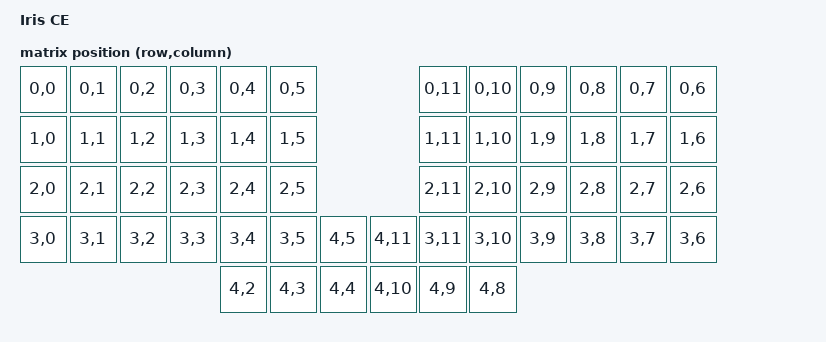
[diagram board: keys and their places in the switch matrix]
/*
 * Copyright (c) 2024 ZMK Contributors
 *
 * SPDX-License-Identifier: MIT
 */

/dts-v1/;
#include <rpi_pico/rp2040.dtsi>
#include <zephyr/dt-bindings/led/led.h>
#include <zephyr/dt-bindings/pinctrl/rpi-pico-rp2040-pinctrl.h>

#include <dt-bindings/zmk/matrix_transform.h>

/ {
    model = "Iris CE";
    compatible = "iris_ce";

    chosen {
        zephyr,sram = &sram0;
        zephyr,flash = &flash0;
        zephyr,flash-controller = &ssi;
        zephyr,console = &cdc_acm_uart;
        zephyr,shell-uart = &cdc_acm_uart;
        zephyr,code-partition = &code_partition;
        zmk,kscan = &kscan0;
        zmk,matrix-transform = &default_transform;
        zmk,split-uart = &pio0_uart0;
        zmk,underglow = &led_strip;
    };

    xtal_clk: xtal-clk {
        compatible = "fixed-clock";
        clock-frequency = <12000000>;
        #clock-cells = <0>;
    };

    default_transform: keymap_transform_0 {
        compatible = "zmk,matrix-transform";
        columns = <16>;
        rows = <4>;
        map = <
RC(0,0) RC(0,1) RC(0,2) RC(0,3) RC(0,4) RC(0,5)                  RC(0,11) RC(0,10) RC(0,9) RC(0,8) RC(0,7) RC(0,6)
RC(1,0) RC(1,1) RC(1,2) RC(1,3) RC(1,4) RC(1,5)                  RC(1,11) RC(1,10) RC(1,9) RC(1,8) RC(1,7) RC(1,6)
RC(2,0) RC(2,1) RC(2,2) RC(2,3) RC(2,4) RC(2,5)                  RC(2,11) RC(2,10) RC(2,9) RC(2,8) RC(2,7) RC(2,6)
RC(3,0) RC(3,1) RC(3,2) RC(3,3) RC(3,4) RC(3,5) RC(4,5) RC(4,11) RC(3,11) RC(3,10) RC(3,9) RC(3,8) RC(3,7) RC(3,6)
                                RC(4,2) RC(4,3) RC(4,4) RC(4,10) RC(4,9)  RC(4,8)
        >;
    };

};

&flash0 {
    reg = <0x10000000 DT_SIZE_M(2)>;

    partitions {
        compatible = "fixed-partitions";
        #address-cells = <1>;
        #size-cells = <1>;

        /* Reserved memory for the second stage bootloader */
        second_stage_bootloader: partition@0 {
            reg = <0x00000000 0x100>;
            read-only;
        };

        /*
         * Usable flash. Starts at 0x100, after the bootloader.
         */
        code_partition: partition@100 {
            reg = <0x100 (DT_SIZE_M(2) - 0x100 - DT_SIZE_K(512))>;
            read-only;
        };

        storage_partition: partition@180000 {
            reg = <0x180000 DT_SIZE_K(512)>;
        };
    };
};

&usbd {
    status = "okay";
        cdc_acm_uart: cdc_acm_uart {
        compatible = "zephyr,cdc-acm-uart";
    };
};

&gpio0 {
    status = "okay";
};

&pio0 {
    status = "okay";

    pio0_uart0: serial {
        status = "okay";
        compatible = "raspberrypi,pico-uart-pio";
        pinctrl-0 = <&pio0_uart0_default>;
        pinctrl-names = "default";
        current-speed = <115200>;
    };
};

&pio1 {
    status = "okay";

    pio1_ws2812: ws2812 {
        compatible = "worldsemi,ws2812-rpi_pico-pio";
        status = "okay";
        pinctrl-0 = <&pio1_ws2812_default>;
        pinctrl-names = "default";
        bit-waveform = <3>, <3>, <4>;

        led_strip: led_strip {
            status = "okay";
            gpios = <&gpio0 25 GPIO_ACTIVE_HIGH>;
            chain-length = <34>;
            color-mapping = <LED_COLOR_ID_GREEN
                     LED_COLOR_ID_RED
                     LED_COLOR_ID_BLUE>;
            reset-delay = <280>;
            frequency = <800000>;
        };
    };
};
